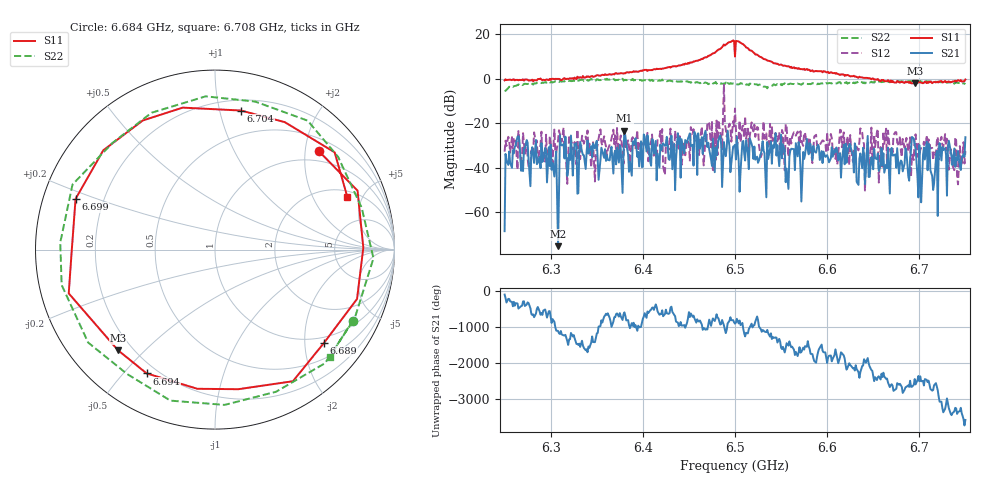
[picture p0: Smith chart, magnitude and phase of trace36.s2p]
# Hz S RI R 50
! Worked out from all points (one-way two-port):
!   401 points, 6.25 GHz to 6.75 GHz, reference 50 ohm
!   highest |S21| = -23.27 dB at 6.38 GHz (marker M1); lowest = -75.1 dB at 6.308 GHz (marker M2)
!   lowest |S11| = -2.2 dB at 6.695 GHz (marker M3), VSWR 8.04, Z = 7.32 - j20.9 ohm
!   |S11| at or under -10 dB: nowhere
!   |S22| runs from -5.6 to 0.0 dB; largest |S21 - S12| = 0.74
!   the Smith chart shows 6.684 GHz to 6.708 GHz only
!   S11 on the Smith chart (normalised r, x): 6.684 GHz: 0.76, +2.29; 6.689 GHz: 0.85, -2.45; 6.694 GHz: 0.16, -0.58; 6.699 GHz: 0.10, +0.17; 6.704 GHz: 0.28, +1.16; 6.708 GHz: 2.39, +3.78
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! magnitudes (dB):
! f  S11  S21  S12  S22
! 6.25 GHz  -0.8  -68.4  -32.8  -5.6
! 6.254 GHz  -0.6  -38.7  -26.1  -4.2
! 6.264 GHz  -0.6  -26.0  -40.8  -2.9
! 6.308 GHz  -0.1  -75.1  -27.8  -1.3
! 6.312 GHz  -0.7  -30.0  -28.2  -1.4
! 6.334 GHz  0.4  -32.7  -25.6  -0.6
! 6.38 GHz  2.4  -23.3  -24.4  -0.7
! 6.418 GHz  4.4  -39.8  -26.1  -0.8
! 6.5 GHz  9.9  -29.7  -13.4  -2.3
! 6.556 GHz  5.5  -40.3  -21.6  -2.3
! 6.584 GHz  3.7  -36.5  -37.9  -2.0
! 6.668 GHz  -1.5  -51.5  -31.8  -1.7
! 6.684 GHz  -2.0  -38.2  -31.0  -1.3
! 6.689 GHz  -1.9  -45.7  -30.4  -1.1
! 6.694 GHz  -2.1  -26.9  -36.5  -1.3
! 6.695 GHz  -2.2  -29.6  -26.1  -1.2
! 6.699 GHz  -1.7  -53.3  -29.2  -1.4
! 6.704 GHz  -2.1  -34.4  -30.1  -1.4
! 6.708 GHz  -2.0  -28.3  -25.4  -1.2
! 6.718 GHz  -1.7  -36.4  -34.3  -1.4
! 6.724 GHz  -1.1  -36.7  -26.1  -1.6
! 6.75 GHz  -0.4  -26.3  -32.4  -2.5
